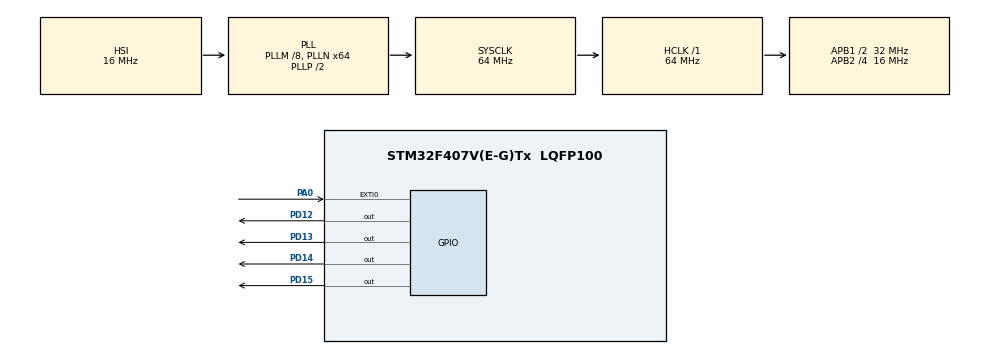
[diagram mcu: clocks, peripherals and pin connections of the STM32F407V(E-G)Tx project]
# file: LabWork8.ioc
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Mcu.Family=STM32F4
Mcu.Name=STM32F407V(E-G)Tx
Mcu.Package=LQFP100
NVIC.EXTI0_IRQn=true\:0\:0\:false\:false\:true\:true\:true\:true
NVIC.PriorityGroup=NVIC_PRIORITYGROUP_0
NVIC.TIM2_IRQn=true\:0\:0\:false\:false\:true\:true\:true\:true
NVIC.TIM3_IRQn=true\:0\:0\:false\:false\:true\:true\:true\:true
PA0-WKUP.Signal=GPXTI0
PD12.Signal=GPIO_Output
PD13.Signal=GPIO_Output
PD14.Signal=GPIO_Output
PD15.Signal=GPIO_Output
ProjectManager.HeapSize=0x200
ProjectManager.StackSize=0x400
ProjectManager.TargetToolchain=STM32CubeIDE
RCC.48MHZClocksFreq_Value=18285714.285714287
RCC.AHBFreq_Value=64000000
RCC.APB1CLKDivider=RCC_HCLK_DIV2
RCC.APB1Freq_Value=32000000
RCC.APB1TimFreq_Value=64000000
RCC.APB2CLKDivider=RCC_HCLK_DIV4
RCC.APB2Freq_Value=16000000
RCC.APB2TimFreq_Value=32000000
RCC.CortexFreq_Value=64000000
RCC.HCLKFreq_Value=64000000
RCC.HSE_VALUE=8000000
RCC.HSI_VALUE=16000000
RCC.LSE_VALUE=32768
RCC.PLLM=8
RCC.PLLN=64
RCC.PLLQ=7
RCC.SYSCLKFreq_VALUE=64000000
RCC.SYSCLKSource=RCC_SYSCLKSOURCE_PLLCLK
RCC.VCOOutputFreq_Value=128000000
TIM2.Period=16000
TIM2.Prescaler=15999
TIM3.Period=15999
TIM3.Prescaler=15999
VP_TIM2_VS_ClockSourceINT.Mode=Internal
VP_TIM3_VS_ClockSourceINT.Mode=Internal
board=STM32F407G-DISC1

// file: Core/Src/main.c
/* USER CODE BEGIN Header */
/**
  ******************************************************************************
  * @file           : main.c
  * @brief          : Main program body
  ******************************************************************************
  * @attention
  *
  * Copyright (c) 2024 STMicroelectronics.
  * All rights reserved.
  *
  * This software is licensed under terms that can be found in the LICENSE file
  * in the root directory of this software component.
  * If no LICENSE file comes with this software, it is provided AS-IS.
  *
  ******************************************************************************
  */
/* USER CODE END Header */
#include "main.h"

/* USER CODE BEGIN Includes */
	extern uint8_t tick_number;
/* USER CODE END Includes */

TIM_HandleTypeDef htim2;
TIM_HandleTypeDef htim3;

/* USER CODE BEGIN PV */
uint32_t Lucky_Number = 9;

uint32_t pressDuration  = 0;
uint32_t pressStartTime  = 0;
/* USER CODE END PV */

void SystemClock_Config(void);
static void MX_GPIO_Init(void);
static void MX_TIM2_Init(void);
static void MX_TIM3_Init(void);

/* USER CODE BEGIN 0 */
void HAL_GPIO_EXTI_Callback(uint16_t GPIO_Pin) {
    static uint32_t pressStartTime = 0;
    static uint32_t pressDuration = 0;
    if (GPIO_Pin == GPIO_PIN_0) {
        if (HAL_GPIO_ReadPin(GPIOA, GPIO_PIN_0) == GPIO_PIN_RESET) {

            // Button is pressed, start TIM2
            pressStartTime = HAL_GetTick();
        } else {
            // Button is released, stop TIM2
            pressDuration = HAL_GetTick() - pressStartTime;
            if (pressDuration <= 1000) {
            	if (tick_number == Lucky_Number)
            	{
            		HAL_TIM_Base_Stop_IT(&htim2);
            	}
               HAL_GPIO_TogglePin(GPIOD, GPIO_PIN_13);
            }
            else if (pressDuration > 1000)
                {
            	HAL_TIM_Base_Start_IT(&htim2);
            	}
            }
        }
    }
/* USER CODE END 0 */

int main(void)
{

  /* MCU Configuration--------------------------------------------------------*/

  /* Reset of all peripherals, Initializes the Flash interface and the Systick. */
  HAL_Init();

  /* Configure the system clock */
  SystemClock_Config();

  /* Initialize all configured peripherals */
  MX_GPIO_Init();
  MX_TIM2_Init();
  MX_TIM3_Init();

  /* USER CODE BEGIN 2 */

  HAL_TIM_Base_Start_IT(&htim2);
  HAL_TIM_Base_Start(&htim3);
  /* USER CODE END 2 */

  /* Infinite loop */
  while (1)
  {

  }
}

void SystemClock_Config(void)
{
  RCC_OscInitTypeDef RCC_OscInitStruct = {0};
  RCC_ClkInitTypeDef RCC_ClkInitStruct = {0};

  /** Configure the main internal regulator output voltage
  */
  __HAL_RCC_PWR_CLK_ENABLE();
  __HAL_PWR_VOLTAGESCALING_CONFIG(PWR_REGULATOR_VOLTAGE_SCALE1);

  /** Initializes the RCC Oscillators according to the specified parameters
  * in the RCC_OscInitTypeDef structure.
  */
  RCC_OscInitStruct.OscillatorType = RCC_OSCILLATORTYPE_HSI;
  RCC_OscInitStruct.HSIState = RCC_HSI_ON;
  RCC_OscInitStruct.HSICalibrationValue = RCC_HSICALIBRATION_DEFAULT;
  RCC_OscInitStruct.PLL.PLLState = RCC_PLL_ON;
  RCC_OscInitStruct.PLL.PLLSource = RCC_PLLSOURCE_HSI;
  RCC_OscInitStruct.PLL.PLLM = 8;
  RCC_OscInitStruct.PLL.PLLN = 64;
  RCC_OscInitStruct.PLL.PLLP = RCC_PLLP_DIV2;
  RCC_OscInitStruct.PLL.PLLQ = 7;
  if (HAL_RCC_OscConfig(&RCC_OscInitStruct) != HAL_OK)
  {
    Error_Handler();
  }

  /** Initializes the CPU, AHB and APB buses clocks
  */
  RCC_ClkInitStruct.ClockType = RCC_CLOCKTYPE_HCLK|RCC_CLOCKTYPE_SYSCLK
                              |RCC_CLOCKTYPE_PCLK1|RCC_CLOCKTYPE_PCLK2;
  RCC_ClkInitStruct.SYSCLKSource = RCC_SYSCLKSOURCE_PLLCLK;
  RCC_ClkInitStruct.AHBCLKDivider = RCC_SYSCLK_DIV1;
  RCC_ClkInitStruct.APB1CLKDivider = RCC_HCLK_DIV2;
  RCC_ClkInitStruct.APB2CLKDivider = RCC_HCLK_DIV4;

  if (HAL_RCC_ClockConfig(&RCC_ClkInitStruct, FLASH_LATENCY_2) != HAL_OK)
  {
    Error_Handler();
  }
}

static void MX_TIM2_Init(void)
{

  TIM_ClockConfigTypeDef sClockSourceConfig = {0};
  TIM_MasterConfigTypeDef sMasterConfig = {0};

  htim2.Instance = TIM2;
  htim2.Init.Prescaler = 15999;
  htim2.Init.CounterMode = TIM_COUNTERMODE_UP;
  htim2.Init.Period = 16000;
  htim2.Init.ClockDivision = TIM_CLOCKDIVISION_DIV1;
  htim2.Init.AutoReloadPreload = TIM_AUTORELOAD_PRELOAD_DISABLE;
  if (HAL_TIM_Base_Init(&htim2) != HAL_OK)
  {
    Error_Handler();
  }
  sClockSourceConfig.ClockSource = TIM_CLOCKSOURCE_INTERNAL;
  if (HAL_TIM_ConfigClockSource(&htim2, &sClockSourceConfig) != HAL_OK)
  {
    Error_Handler();
  }
  sMasterConfig.MasterOutputTrigger = TIM_TRGO_RESET;
  sMasterConfig.MasterSlaveMode = TIM_MASTERSLAVEMODE_DISABLE;
  if (HAL_TIMEx_MasterConfigSynchronization(&htim2, &sMasterConfig) != HAL_OK)
  {
    Error_Handler();
  }

}

static void MX_TIM3_Init(void)
{

  TIM_ClockConfigTypeDef sClockSourceConfig = {0};
  TIM_MasterConfigTypeDef sMasterConfig = {0};

  htim3.Instance = TIM3;
  htim3.Init.Prescaler = 15999;
  htim3.Init.CounterMode = TIM_COUNTERMODE_UP;
  htim3.Init.Period = 15999;
  htim3.Init.ClockDivision = TIM_CLOCKDIVISION_DIV1;
  htim3.Init.AutoReloadPreload = TIM_AUTORELOAD_PRELOAD_DISABLE;
  if (HAL_TIM_Base_Init(&htim3) != HAL_OK)
  {
    Error_Handler();
  }
  sClockSourceConfig.ClockSource = TIM_CLOCKSOURCE_INTERNAL;
  if (HAL_TIM_ConfigClockSource(&htim3, &sClockSourceConfig) != HAL_OK)
  {
    Error_Handler();
  }
  sMasterConfig.MasterOutputTrigger = TIM_TRGO_RESET;
  sMasterConfig.MasterSlaveMode = TIM_MASTERSLAVEMODE_DISABLE;
  if (HAL_TIMEx_MasterConfigSynchronization(&htim3, &sMasterConfig) != HAL_OK)
  {
    Error_Handler();
  }

}

static void MX_GPIO_Init(void)
{
  GPIO_InitTypeDef GPIO_InitStruct = {0};

  /* GPIO Ports Clock Enable */
  __HAL_RCC_GPIOA_CLK_ENABLE();
  __HAL_RCC_GPIOD_CLK_ENABLE();

  /*Configure GPIO pin Output Level */
  HAL_GPIO_WritePin(GPIOD, GPIO_PIN_12|GPIO_PIN_13|GPIO_PIN_14|GPIO_PIN_15, GPIO_PIN_RESET);

  /*Configure GPIO pin : PA0 */
  GPIO_InitStruct.Pin = GPIO_PIN_0;
  GPIO_InitStruct.Mode = GPIO_MODE_IT_RISING_FALLING  ;
  GPIO_InitStruct.Pull = GPIO_NOPULL;
  HAL_GPIO_Init(GPIOA, &GPIO_InitStruct);

  /*Configure GPIO pins : PD12 PD13 PD14 PD15 */
  GPIO_InitStruct.Pin = GPIO_PIN_12|GPIO_PIN_13|GPIO_PIN_14|GPIO_PIN_15;
  GPIO_InitStruct.Mode = GPIO_MODE_OUTPUT_PP;
  GPIO_InitStruct.Pull = GPIO_NOPULL;
  GPIO_InitStruct.Speed = GPIO_SPEED_FREQ_LOW;
  HAL_GPIO_Init(GPIOD, &GPIO_InitStruct);

  /* EXTI interrupt init*/
  HAL_NVIC_SetPriority(EXTI0_IRQn, 0, 0);
  HAL_NVIC_EnableIRQ(EXTI0_IRQn);

}

void Error_Handler(void)
{
  __disable_irq();
  while (1)
  {
  }
}
